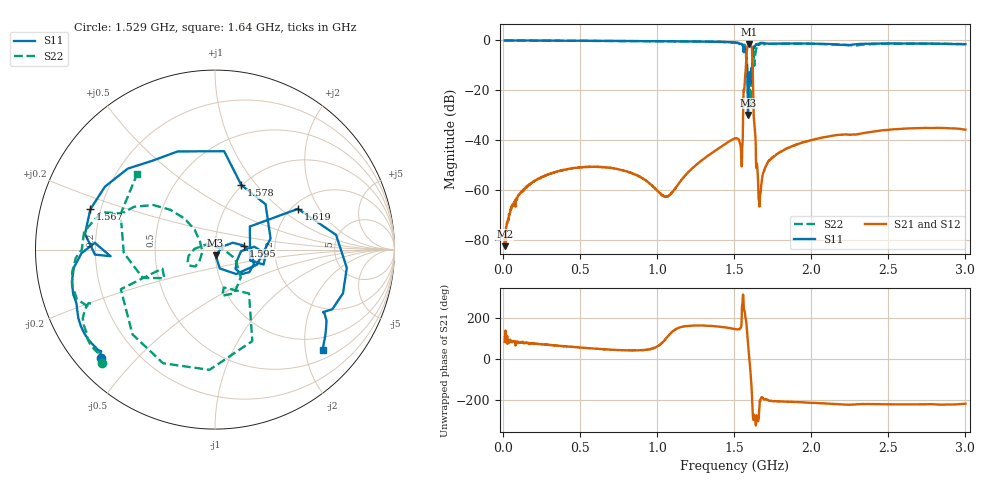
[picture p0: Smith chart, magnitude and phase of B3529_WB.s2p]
! Matrix data file written by TouchstoneData, EPCOS AG
! FILENAME: "LT34A_1_WB.s2p"
! COMMENT: "PCB: 2022; PINNING: 2/5; PORTEXT1: 87.4PS; P"
! INFO: nport=2, nfreq=1601
! DATE: "Fri Feb 22 08:53:29 2008"
! USER: "Aleksander Breg"
# MHZ S MA R 50
! freq  magS11 angS11  magS21 angS21  magS12 angS12  magS22 angS22
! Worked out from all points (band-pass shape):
!   1601 points, 10 MHz to 3 GHz, reference 50 ohm
!   highest |S21| = -1.54 dB at 1.595 GHz (marker M1); lowest = -82.4 dB at 11.87 MHz (marker M2)
!   |S21| within 3 dB of the highest: 1.581 GHz to 1.617 GHz (35.58 MHz wide, 2.22 % of centre)
!   lowest |S11| = -29.9 dB at 1.589 GHz (marker M3), VSWR 1.07, Z = 50.2 - j3.2 ohm
!   |S11| at or under -10 dB: 1.582 GHz to 1.618 GHz (36.25 MHz wide, 2.27 % of centre)
!   |S22| runs from -26.5 to 0.0 dB; largest |S21 - S12| = 0.0015
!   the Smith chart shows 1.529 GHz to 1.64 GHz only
!   S11 on the Smith chart (normalised r, x): 1.529 GHz: 0.08, -0.40; 1.567 GHz: 0.16, +0.15; 1.578 GHz: 0.99, +0.84; 1.595 GHz: 1.38, +0.06; 1.619 GHz: 2.16, +1.33; 1.64 GHz: 0.70, -2.37
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10  0.9996 -0.8  0.0001227 84.3  0.0001148 83.3  0.9996 -0.7
11.86875  0.9997 -0.9  7.549e-05 112.6  7.007e-05 104.3  0.9995 -0.9
60.45625  0.9982 -4.5  0.0004812 85.7  0.0004732 86.7  0.9983 -4.4
153.8938  0.9965 -11.3  0.001128 80.7  0.001126 80.8  0.9959 -11.3
508.9563  0.9861 -36.4  0.002859 56.5  0.002845 56.6  0.9823 -36.6
1007.913  0.966 -69.8  0.000926 65.1  0.000926 65.4  0.9648 -71.9
1505  0.9022 -123.0  0.01096 146.1  0.01099 146.0  0.914 -125.3
1529.294  0.8773 -136.6  0.01038 145.4  0.01041 145.3  0.8935 -135.1
1544.244  0.8604 -150.3  0.006179 155.1  0.006187 154.9  0.872 -143.3
1566.669  0.73 162.0  0.1222 -124.5  0.1216 -124.5  0.8197 -165.6
1577.881  0.3878 67.7  0.3983 -175.8  0.3975 -175.8  0.5582 158.9
1589.094  0.03194 -84.2  0.8103 77.3  0.8095 77.3  0.09575 151.5
1594.7  0.161 8.1  0.8373 30.7  0.8368 30.7  0.1449 -139.5
1605.912  0.137 -26.7  0.8177 -65.4  0.817 -65.4  0.04748 1.4
1618.994  0.5146 26.2  0.3706 110.0  0.3718 110.1  0.5506 -67.8
1639.55  0.8192 -42.9  0.007836 38.8  0.007796 38.7  0.6048 135.8
1656.369  0.8177 -59.8  0.001081 62.7  0.00108 62.3  0.8612 -10.8
1669.45  0.8925 -65.6  0.0008275 160.1  0.0008258 160.1  0.8502 -42.2
1734.856  0.8641 -84.7  0.004066 158.1  0.00408 157.7  0.8565 -86.0
2003.956  0.8644 -105.8  0.01006 149.0  0.01008 148.6  0.854 -113.9
2502.912  0.8723 -124.5  0.01621 141.7  0.01615 142.5  0.8583 -134.8
3000  0.8412 -148.9  0.01632 144.4  0.01627 143.7  0.8412 -157.2
